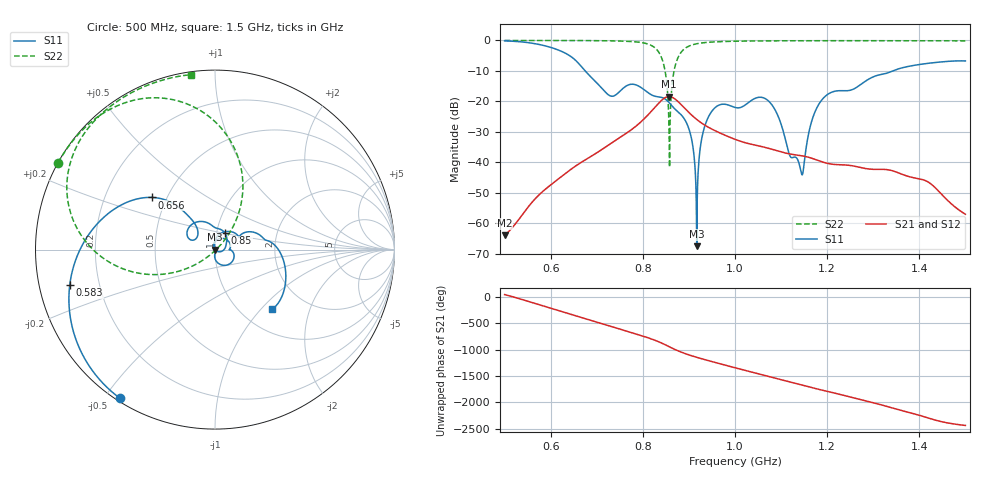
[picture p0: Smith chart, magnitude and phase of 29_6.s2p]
! TOUCHSTONE file generated by CST MICROWAVE STUDIO
! Date and time: Fri Oct  2 18:58:42 2020
! Project name: Scenario_1_Free_Space_out_of_line.cst
! Parameters = {Lambda=346.42; Step_1=17.321; dy1=-137.908; dx1=1039; L_HA=400; MT=2.54; Rad_Dielectric=30; Rad_Lower=7.3; Rad_Upper=30; a_HA=580; a_WG=246; b_HA=500; b_WG=121; c_HA=0; c_WG=187; d_feed=85; h_feed=15; h_lower=18; h_upper=40}
! Header version: 2018
! Port assignment regex: !\s*Touchstone port\s*([0-9]+)\s*=\s*(CST MWS port|CST DS port)\s*([0-9]+|Zmin|Zmax)\s*\(\"(.*)\"\)(\s*mode\s*([0-9]+))?.*
! Touchstone port assignment:
! Touchstone port 1 = CST MWS port 1 ("")
! Touchstone port 2 = CST MWS port 2 ("")
# GHz S DB R 50
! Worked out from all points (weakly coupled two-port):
!   1003 points, 500 MHz to 1.5 GHz, reference 50 ohm
!   highest |S21| = -18.42 dB at 857 MHz (marker M1); lowest = -63.9 dB at 500 MHz (marker M2)
!   lowest |S11| = -67.5 dB at 917 MHz (marker M3), VSWR 1.00, Z = 50 - j0.0146 ohm
!   |S11| at or under -10 dB: 674.8 MHz to 1.342 GHz (667.4 MHz wide, 66.2 % of centre)
!   |S22| runs from -41.6 to 0.0 dB; largest |S21 - S12| = 2.8e-05
!   S11 on the Smith chart (normalised r, x): 500 MHz: 0.01, -0.55; 583 MHz: 0.09, -0.12; 656 MHz: 0.41, +0.30; 850 MHz: 1.10, +0.20; 1.5 GHz: 1.37, -1.16
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0.5  -0.15 -122.5  -63.94 45.8  -63.94 45.8  -0.01 151.1
0.583  -1.59 -166.4  -49.54 -170.6  -49.55 -170.6  -0.02 145.4
0.656  -6.82 140.4  -41.03 -3.5  -41.03 -3.5  -0.04 139.3
0.667  -8.64 133.5  -39.95 -33.0  -39.95 -33.0  -0.04 138.3
0.729  -18.18 142.0  -33.97 165.8  -33.97 165.8  -0.13 130.8
0.777  -14.37 135.9  -29.10 39.2  -29.10 39.2  -0.38 121.0
0.834  -18.53 81.6  -20.66 -129.6  -20.66 -129.6  -3.74 84.9
0.85  -19.40 58.1  -18.67 166.4  -18.67 166.4  -11.68 58.2
0.857  -20.41 46.9  -18.42 136.0  -18.42 136.0  -31.26 36.3
0.876  -23.40 23.6  -20.01 57.9  -20.01 57.9  -5.73 -167.8
0.902  -30.03 -22.2  -23.95 -26.1  -23.95 -26.1  -1.74 167.0
0.917  -67.54 -159.7  -25.95 -66.5  -25.95 -66.5  -1.08 159.1
0.928  -32.04 107.0  -27.18 -94.2  -27.18 -94.2  -0.82 154.9
0.943  -24.91 77.1  -28.56 -130.7  -28.56 -130.7  -0.60 150.5
1  -21.99 0.3  -32.46 95.6  -32.46 95.6  -0.26 140.1
1.073  -19.92 -60.4  -35.42 -69.9  -35.42 -69.9  -0.14 132.1
1.144  -43.65 17.2  -37.84 131.7  -37.84 131.7  -0.10 125.9
1.167  -26.22 90.5  -38.69 78.3  -38.69 78.3  -0.10 124.1
1.203  -17.53 49.0  -40.42 1.4  -40.42 1.4  -0.09 121.3
1.334  -10.50 9.5  -42.50 70.8  -42.50 70.8  -0.09 111.4
1.418  -7.53 -20.0  -46.38 -134.9  -46.35 -134.7  -0.11 104.8
1.5  -6.73 -46.4  -57.06 79.9  -57.11 80.0  -0.14 97.8
